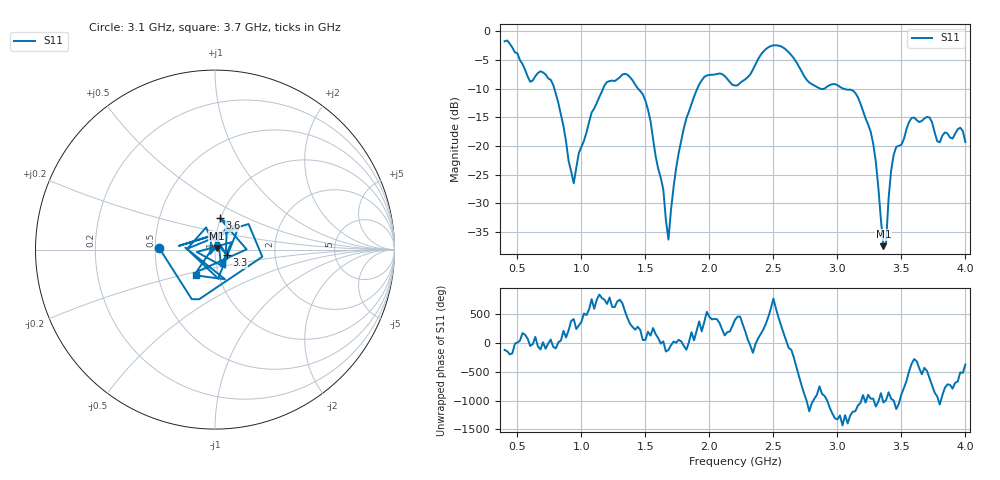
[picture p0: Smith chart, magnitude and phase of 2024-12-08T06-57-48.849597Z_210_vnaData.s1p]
!Created with skrf (http://scikit-rf.org).
# Hz S RI R 50.0
!freq ReS11 ImS11
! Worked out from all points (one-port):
!   181 points, 400 MHz to 4 GHz, reference 50 ohm
!   lowest |S11| = -37.4 dB at 3.36 GHz (marker M1), VSWR 1.03, Z = 51 + j0.962 ohm
!   |S11| at or under -10 dB: 788.6 MHz to 1.169 GHz (380.8 MHz wide, 38.9 % of centre); 1.443 GHz to 1.905 GHz (462.5 MHz wide, 27.6 % of centre); 3.049 GHz to end of sweep (the widest 3 of 4)
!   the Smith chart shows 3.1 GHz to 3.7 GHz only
!   S11 on the Smith chart (normalised r, x): 3.1 GHz: 0.53, +0.01; 3.3 GHz: 1.14, -0.07; 3.6 GHz: 0.99, +0.36; 3.7 GHz: 0.78, -0.23
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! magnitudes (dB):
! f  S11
! 400 MHz  -1.7
! 600 MHz  -8.8
! 760 MHz  -8.5
! 860 MHz  -16.6
! 940 MHz  -26.5
! 1.08 GHz  -14.1
! 1.3 GHz  -8.0
! 1.5 GHz  -12.1
! 1.64 GHz  -27.6
! 1.68 GHz  -36.3
! 1.76 GHz  -21.2
! 1.96 GHz  -7.9
! 2.2 GHz  -9.4
! 2.48 GHz  -2.6
! 2.66 GHz  -4.7
! 2.84 GHz  -9.7
! 3.1 GHz  -10.2
! 3.24 GHz  -16.2
! 3.3 GHz  -22.7
! 3.36 GHz  -37.4
! 3.38 GHz  -36.8
! 3.4 GHz  -29.1
! 3.44 GHz  -21.5
! 3.56 GHz  -15.8
! 3.6 GHz  -15.0
! 3.7 GHz  -14.9
! 3.78 GHz  -19.1
! 4 GHz  -19.3
